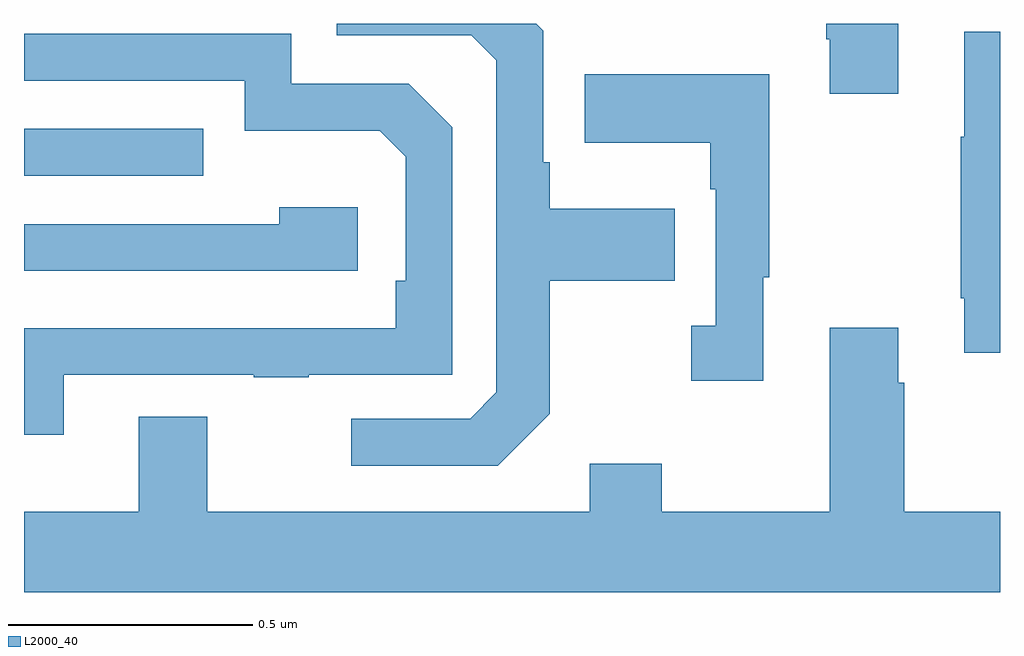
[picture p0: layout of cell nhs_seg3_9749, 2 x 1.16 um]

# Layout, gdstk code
import gdstk
lib = gdstk.Library(unit=1e-6, precision=1e-09)
def R(c, l, rs):  # rectangles x0, y0, x1, y1
    for r in rs: c.add(gdstk.rectangle(r[:2], r[2:], *l))
def P(c, l, *ps):  # polygons
    for p in ps: c.add(gdstk.Polygon(p, *l))
L2000_40 = (2000, 40)

nhs_seg3_9749 = lib.new_cell('nhs_seg3_9749')
R(nhs_seg3_9749, L2000_40, [(232,715.089,232.367,715.185)])
P(nhs_seg3_9749, L2000_40, [(233.791,715.4),(233.644,715.4),(233.644,715.369),(233.651,715.369),(233.651,715.257),(233.791,715.257)],
  [(233.077,714.601),(233.077,714.874),(233.333,714.874),(233.333,715.021),(233.077,715.021),(233.077,715.117),(233.064,715.117),(233.064,715.386),(233.05,715.4),(232.641,715.4),(232.641,715.377),(232.917,715.377),(232.968,715.326),(232.968,714.645),(232.914,714.591),(232.671,714.591),(232.671,714.495),(232.971,714.495)],
  [(234,715.384),(233.927,715.384),(233.927,715.169),(233.92,715.169),(233.92,714.838),(233.927,714.838),(233.927,714.726),(234,714.726)],
  [(232.081,714.681),(232.471,714.681),(232.471,714.676),(232.583,714.676),(232.583,714.681),(232.878,714.681),(232.878,715.188),(232.788,715.278),(232.548,715.278),(232.548,715.38),(232,715.38),(232,715.284),(232.452,715.284),(232.452,715.181),(232.729,715.181),(232.782,715.128),(232.782,714.874),(232.762,714.874),(232.762,714.777),(232.087,714.777),(232.087,714.776),(232,714.776),(232,714.558),(232.081,714.558)],
  [(233.515,714.881),(233.527,714.881),(233.527,715.297),(233.149,715.297),(233.149,715.157),(233.406,715.157),(233.406,715.061),(233.418,715.061),(233.418,714.782),(233.367,714.782),(233.367,714.669),(233.515,714.669)],
  [(232.684,715.024),(232.523,715.024),(232.523,714.99),(232,714.99),(232,714.894),(232.684,714.894)],
  [(234,714.4),(233.804,714.4),(233.804,714.665),(233.791,714.665),(233.791,714.778),(233.651,714.778),(233.651,714.4),(233.307,714.4),(233.307,714.499),(233.159,714.499),(233.159,714.4),(232.375,714.4),(232.375,714.595),(232.235,714.595),(232.235,714.4),(232,714.4),(232,714.236),(234,714.236)])

lib.write_gds('nhs_seg3_9749.gds')
